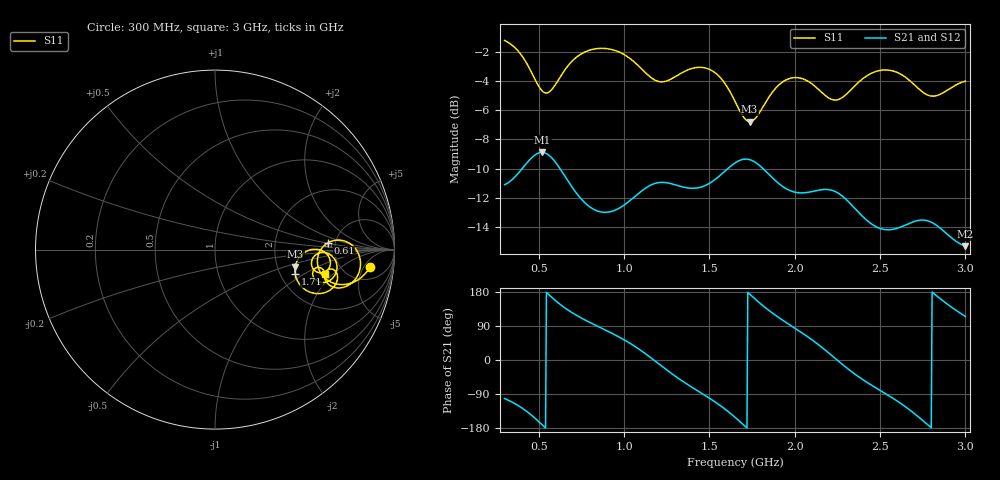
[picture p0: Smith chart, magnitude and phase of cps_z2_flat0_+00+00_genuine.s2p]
! cps_z2_flat0_+00+00_genuine
! simulated by sim/fixtures_fdtd.py (S12 = S21, S22 not computed)
# HZ S RI R 50
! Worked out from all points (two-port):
!   541 points, 300 MHz to 3 GHz, reference 50 ohm
!   highest |S21| = -8.90 dB at 520 MHz (marker M1); lowest = -15.3 dB at 3 GHz (marker M2)
!   |S21| within 3 dB of the highest: start of sweep to 734.8 MHz; 1.066 GHz to 2.28 GHz (1.214 GHz wide, 72.6 % of centre)
!   lowest |S11| = -6.8 dB at 1.735 GHz (marker M3), VSWR 2.69, Z = 126 - j30.2 ohm
!   |S11| at or under -10 dB: nowhere
!   |S22| runs from - to - dB; largest |S21 - S12| = 0
!   S11 on the Smith chart (normalised r, x): 300 MHz: 9, -7; 610 MHz: 4.32, +0.53; 1.71 GHz: 2.41, -0.83; 3 GHz: 3.60, -1.64
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3e8  0.8619 -0.0994  -0.0562 -0.2726  -0.0562 -0.2726  0 0
4.25e8  0.7054 -0.1949  -0.2277 -0.2353  -0.2277 -0.2353  0 0
5.2e8  0.5749 -0.0977  -0.3547 -0.0563  -0.3547 -0.0563  0 0
6.1e8  0.628 0.037  -0.288 0.1507  -0.288 0.1507  0 0
7.5e8  0.781 0.00701  -0.0876 0.2323  -0.0876 0.2323  0 0
8.85e8  0.8074 -0.1096  0.0378 0.2206  0.0378 0.2206  0 0
1.025e9  0.7318 -0.2047  0.1666 0.177  0.1666 0.177  0 0
1.2e9  0.6098 -0.1515  0.2792 -0.0449  0.2792 -0.0449  0 0
1.31e9  0.6485 -0.108  0.1926 -0.199  0.1926 -0.199  0 0
1.435e9  0.682 -0.1657  0.0362 -0.2693  0.0362 -0.2693  0 0
1.56e9  0.6048 -0.2416  -0.1451 -0.2609  -0.1451 -0.2609  0 0
1.65e9  0.4919 -0.2153  -0.2889 -0.1601  -0.2889 -0.1601  0 0
1.71e9  0.4467 -0.1346  -0.3393 -0.0281  -0.3393 -0.0281  0 0
1.735e9  0.4473 -0.0949  -0.3375 0.0333  -0.3375 0.0333  0 0
1.885e9  0.5925 -0.0047  -0.1385 0.2526  -0.1385 0.2526  0 0
2.1e9  0.6033 -0.1282  0.1562 0.2123  0.1562 0.2123  0 0
2.26e9  0.5434 -0.051  0.2585 -0.0201  0.2585 -0.0201  0 0
2.38e9  0.6282 -0.0207  0.1542 -0.1597  0.1542 -0.1597  0 0
2.55e9  0.6748 -0.127  -0.013 -0.1946  -0.013 -0.1946  0 0
2.67e9  0.6081 -0.1826  -0.1329 -0.1561  -0.1329 -0.1561  0 0
2.78e9  0.5453 -0.1434  -0.2068 -0.0325  -0.2068 -0.0325  0 0
3e9  0.6142 -0.1381  -0.0721 0.1555  -0.0721 0.1555  0 0
